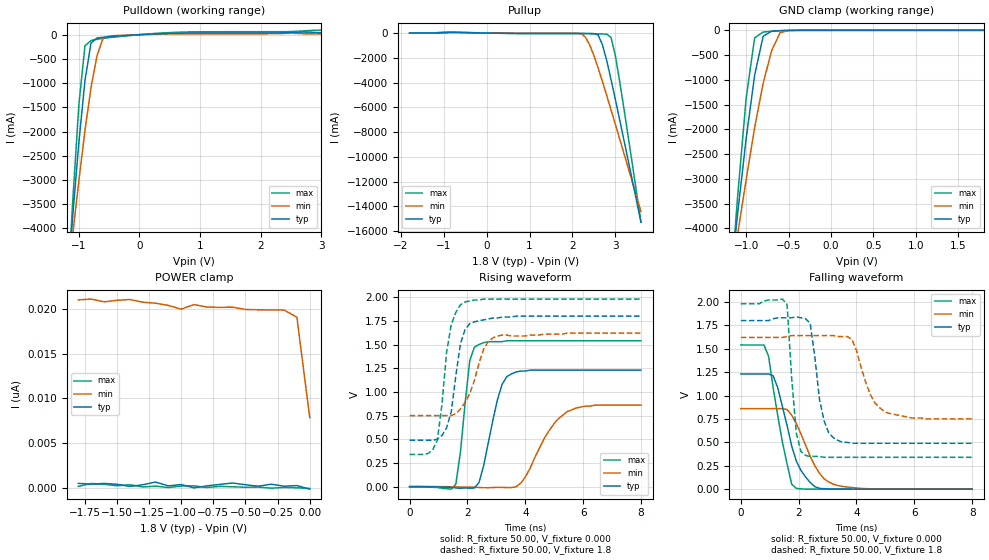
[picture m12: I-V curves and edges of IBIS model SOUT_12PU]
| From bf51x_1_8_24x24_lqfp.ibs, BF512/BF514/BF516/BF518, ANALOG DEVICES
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[Model]   SOUT_12PU
Model_type   I/O
Polarity   Non-Inverting
Enable   Active-Low
Vinl =  0.70V
Vinh =   1.00V
Vmeas =   1.20V
Cref =  50.00pF
Rref =   1.00M
Vref =  0.000V
C_comp   5.83pF   5.83pF   5.85pF
[Temperature Range]   25.00   0.12k   -40.00
[Voltage Range]   1.8V   1.62V   1.98V
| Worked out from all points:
|   slope of the pulldown table from 0 to 0.27 V, typ, clamps not added: 16.2 ohm
|   slope of the pullup table from 0 to 0.27 V, typ, clamps not added: 19.3 ohm
|   GND clamp passes 1 mA (typ) near -0.47 V on its own axis
|   rising waveform, R_fixture 50.00, V_fixture 0.000: 20-80 % time 527ps typ, 933ps min, 314ps max; typ from 0 V to 1.23 V
|   rising waveform, R_fixture 50.00, V_fixture 1.8: 20-80 % time 386ps typ, 575ps min, 373ps max; typ from 0.49 V to 1.8 V
|   falling waveform, R_fixture 50.00, V_fixture 0.000: 20-80 % time 650ps typ, 779ps min, 525ps max; typ from 1.23 V to 0 V
|   falling waveform, R_fixture 50.00, V_fixture 1.8: 20-80 % time 362ps typ, 603ps min, 237ps max; typ from 1.8 V to 0.49 V
[Pulldown]
| voltage   I(typ)   I(min)   I(max)
-1.8V     -15.23A    -12.25A    -19.39A
-1.2V     -5.31A     -5.25A     -5.59A
-1.1V     -3.72A     -4.11A     -3.41A
-1V       -2.22A     -3.01A     -1.44A
-900mV    -950mA     -1.98A     -230mA
-800mV    -170mA     -1.09A     -120mA
-700mV    -68.2mA    -430mA     -94.91mA
-600mV    -52.51mA   -69.75mA   -76.2mA
-500mV    -41.02mA   -27.98mA   -60.19mA
800mV     33.55mA    17.71mA    56.55mA
3V        36.94mA    19.21mA    93.5mA
3.6V      37.46mA    19.55mA    64.61mA
[Pullup]
| voltage   I(typ)   I(min)   I(max)
-1.8V     970uA      510uA      1.67mA
2.2V      -31.87mA   -47.39mA   -51.93mA
2.3V      -33.23mA   -320mA     -52.03mA
2.4V      -38.39mA   -940mA     -52.31mA
2.6V      -150mA     -2.81A     -63.63mA
2.7V      -940mA     -3.91A     -76.64mA
2.8V      -2.21A     -5.03A     -93.6mA
2.9V      -3.73A     -6.18A     -350mA
3V        -5.32A     -7.34A     -1.77A
3.1V      -6.95A     -8.51A     -3.83A
3.3V      -10.25A    -10.86A    -8.31A
3.6V      -15.27A    -14.4A     -15.25A
[GND_clamp]
| voltage   I(typ)   I(min)   I(max)
-1.8V     -15.23A    -12.25A    -19.39A
-1.2V     -5.29A     -5.24A     -5.54A
-1.1V     -3.69A     -4.11A     -3.34A
-1V       -2.18A     -3.01A     -1.36A
-900mV    -900mA     -1.96A     -150mA
-800mV    -120mA     -1.07A     -34.55mA
-700mV    -16.4mA    -410mA     -19.95mA
-600mV    -5.98mA    -45.97mA   -8.61mA
-500mV    -1.3mA     -4.7mA     -1.8mA
1.8V      -170pA     19.98nA    -35.11pA
[POWER_clamp]
| voltage   I(typ)   I(min)   I(max)
-1.8V     480pA      21.06nA    140pA
-1.7V     390pA      21.15nA    470pA
-1.6V     470pA      20.84nA    380pA
-1.4V     140pA      21.1nA     330pA
-1.2V     630pA      20.69nA    170pA
-1.1V     200pA      20.44nA    13.14pA
-1V       350pA      20.02nA    180pA
-900mV    -24.73pA   20.53nA    200pA
-600mV    520pA      20.24nA    100pA
-200mV    160pA      19.92nA    23.77pA
-100mV    230pA      19.12nA    -19.63pA
0V        -170pA     7.86nA     -87.08pA
[Ramp]
| variable   typ   min   max
dV/dt_r   0.75/0.53n   0.52/0.94n   0.94/0.31n
dV/dt_f   0.81/0.35n   0.54/0.62n   1.01/0.21n
R_load = 50.00
[Rising Waveform]
R_fixture = 50.00
V_fixture = 0.000
V_fixture_min = 0.000
V_fixture_max = 0.000
L_fixture = 0.000H
C_fixture = 0.000F
| time   V(typ)   V(min)   V(max)
0s        0V         0V         0V
1.6ns     -14.11mV   -2.56mV    26.85mV
2.08ns    -16.65mV   -5.31mV    1.33V
2.24ns    -14.43mV   -6.4mV     1.47V
2.4ns     42.89mV    -8.53mV    1.5V
3.04ns    920mV      -7.34mV    1.53V
3.36ns    1.16V      -9.82mV    1.54V
3.84ns    1.22V      35.24mV    1.54V
5.44ns    1.23V      790mV      1.54V
8ns       1.23V      860mV      1.54V
[Rising Waveform]
R_fixture = 50.00
V_fixture = 1.8
V_fixture_min = 1.62
V_fixture_max = 1.98
L_fixture = 0.000H
C_fixture = 0.000F
| time   V(typ)   V(min)   V(max)
0s        490mV      750mV      340mV
640ps     490mV      750mV      350mV
960ps     500mV      750mV      490mV
1.28ns    620mV      750mV      1.42V
1.44ns    790mV      750mV      1.71V
1.76ns    1.51V      820mV      1.92V
2.08ns    1.72V      980mV      1.96V
2.56ns    1.76V      1.45V      1.98V
2.88ns    1.78V      1.57V      1.98V
8ns       1.8V       1.62V      1.98V
[Falling Waveform]
R_fixture = 50.00
V_fixture = 0.000
V_fixture_min = 0.000
V_fixture_max = 0.000
L_fixture = 0.000H
C_fixture = 0.000F
| time   V(typ)   V(min)   V(max)
0s        1.23V      860mV      1.54V
800ps     1.23V      860mV      1.54V
960ps     1.23V      860mV      1.42V
1.12ns    1.21V      860mV      1.08V
1.44ns    880mV      860mV      500mV
1.76ns    460mV      790mV      52.83mV
1.92ns    300mV      700mV      8.67mV
2.56ns    26.69mV    250mV      280uV
3.2ns     1.39mV     53.55mV    14.42uV
8ns       120nV      1.55uV     -840nV
[Falling Waveform]
R_fixture = 50.00
V_fixture = 1.8
V_fixture_min = 1.62
V_fixture_max = 1.98
L_fixture = 0.000H
C_fixture = 0.000F
| time   V(typ)   V(min)   V(max)
0s        1.8V       1.62V      1.98V
1.6ns     1.83V      1.63V      1.97V
1.92ns    1.84V      1.64V      600mV
2.24ns    1.82V      1.64V      360mV
2.4ns     1.77V      1.64V      350mV
2.88ns    730mV      1.64V      340mV
3.2ns     550mV      1.64V      340mV
3.84ns    490mV      1.6V       340mV
4.96ns    490mV      830mV      340mV
8ns       490mV      750mV      340mV
